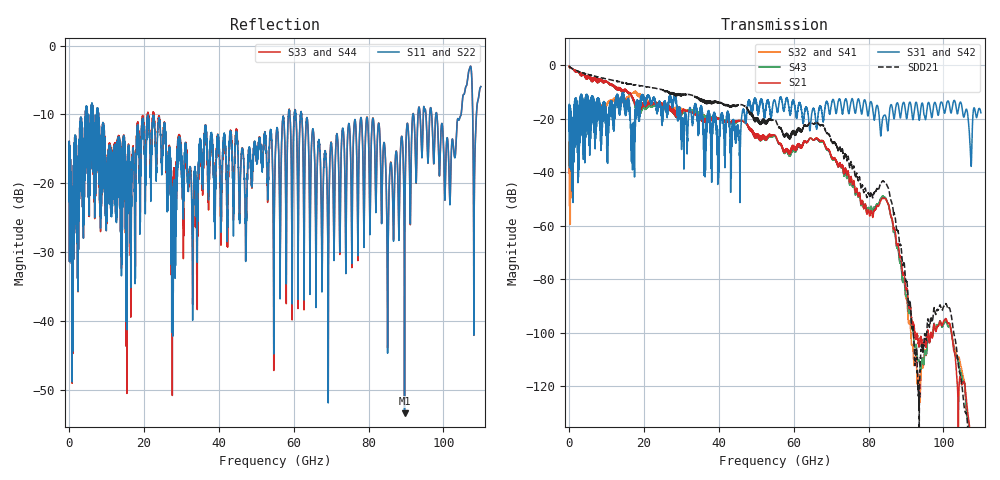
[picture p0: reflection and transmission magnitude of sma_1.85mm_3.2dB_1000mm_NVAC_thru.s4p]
!4 port subset of full cascaded channels using these ports:3 1 4 2
# Hz S RI R 50
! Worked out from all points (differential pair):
!   11000 points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, 10 MHz to 110 GHz, reference 50 ohm
!   strongest paths, dB at 10 MHz, 27.51 GHz, 55.01 GHz, 82.51 GHz, 110 GHz:
!     S31: -24.5, -15.5, -13.3, -15.6, -17.7
!     S42: -24.5, -15.5, -13.3, -15.6, -17.7
!     S21: -0.3, -16.1, -26.1, -52.7, -
!     S43: -0.3, -16.2, -26.6, -52.1, -
!     S32: -37.4, -16.1, -26.3, -52.3, -
!     S41: -37.4, -16.1, -26.3, -52.3, -
!   taken as a pair (ports 1,3 in; 2,4 out), SDD21 dB: -0.2, -10.2, -20.3, -46.3, -
!   lowest |S11| = -53.4 dB at 89.6 GHz (marker M1), VSWR 1.00, Z = 50.2 + j0.0447 ohm
!   |S11| at or under -10 dB: 7.867 GHz to 58.62 GHz (50.75 GHz wide, 153 % of centre); 62.12 GHz to 91.83 GHz (29.7 GHz wide, 38.6 % of centre); 98.23 GHz to 104.7 GHz (6.488 GHz wide, 6.39 % of centre)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
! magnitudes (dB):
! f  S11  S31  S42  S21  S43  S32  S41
! 10 MHz  -22.6  -24.5  -24.5  -0.3  -0.3  -37.4  -37.4
! 2.85 GHz  -13.2  -20.7  -20.7  -2.8  -2.8  -19.5  -19.5
! 17.41 GHz  -20.9  -22.0  -22.0  -13.3  -13.7  -10.1  -10.1
! 66.2 GHz  -19.8  -22.6  -22.6  -27.3  -27.5  -27.4  -27.4
! 84.64 GHz  -18.6  -19.3  -19.3  -50.1  -49.8  -50.0  -49.9
! 89.6 GHz  -53.4  -14.5  -14.5  -79.1  -81.6  -81.7  -81.7
! 110 GHz  -6.0  -17.7  -17.7  -  -  -  -
